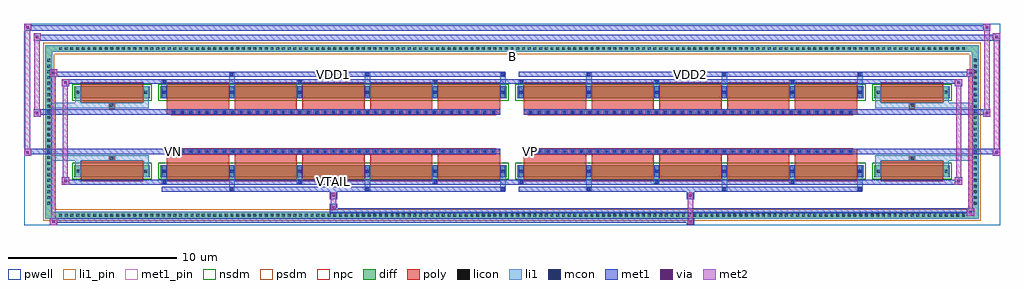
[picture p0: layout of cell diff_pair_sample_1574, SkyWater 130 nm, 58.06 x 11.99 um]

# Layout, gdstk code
import gdstk
lib = gdstk.Library(unit=1e-6, precision=5e-09)
def R(c, l, rs):  # rectangles x0, y0, x1, y1
    for r in rs: c.add(gdstk.rectangle(r[:2], r[2:], *l))
def A(c, l, x, y, w, h, nx, ny, dx, dy):  # array of equal rectangles
    R(c, l, [(x+i*dx, y+j*dy, x+i*dx+w, y+j*dy+h) for i in range(nx) for j in range(ny)])
def P(c, l, *ps):  # polygons
    for p in ps: c.add(gdstk.Polygon(p, *l))
pwell = (64, 44)
diff = (65, 20)
poly = (66, 20)
licon = (66, 44)
li1_pin = (67, 16)
li1 = (67, 20)
mcon = (67, 44)
met1_pin = (68, 16)
met1 = (68, 20)
via = (68, 44)
met2 = (69, 20)
nsdm = (93, 44)
psdm = (94, 20)
npc = (95, 20)

diff_pair_sample_1574 = lib.new_cell('diff_pair_sample_1574')
R(diff_pair_sample_1574, pwell, [(-29.03,-5.56,29.03,6.43), (-26.35,-3.75,-0.01,-0.805), (0.01,-3.75,26.35,-0.805), (-26.35,0.805,-0.01,3.75), (0.01,0.805,26.35,3.75)])
A(diff_pair_sample_1574, diff, -27.065, -5.16, 0.41, 0.41, 159, 2, 0.34, 9.91)
A(diff_pair_sample_1574, diff, -27.76, -4.455, 0.41, 0.41, 1, 26, 0, 0.34)
A(diff_pair_sample_1574, diff, 27.35, -4.455, 0.41, 0.41, 1, 26, 0, 0.34)
R(diff_pair_sample_1574, diff, [(-27.065,-5.16,27.065,-4.75), (-27.76,-4.455,-27.35,4.455), (27.35,-4.455,27.76,4.455), (-26.04,-2.705,-21.56,-1.985), (-20.92,-2.705,-0.32,-1.985), (0.32,-2.705,20.92,-1.985), (21.56,-2.705,26.04,-1.985), (-26.04,1.985,-21.56,2.705), (-20.92,1.985,-0.32,2.705), (0.32,1.985,20.92,2.705), (21.56,1.985,26.04,2.705), (-27.065,4.75,27.065,5.16)])
P(diff_pair_sample_1574, diff, [(27.76,5.16),(-27.76,5.16),(-27.76,-4.75),(-27.35,-4.75),(-27.35,4.75),(27.35,4.75),(27.35,-4.75),(-27.35,-4.75),(-27.76,-4.75),(-27.76,-5.16),(27.76,-5.16)])
A(diff_pair_sample_1574, poly, -20.53, -2.955, 3.7, 1.22, 5, 2, 4.03, 4.69)
A(diff_pair_sample_1574, poly, 0.71, -2.955, 3.7, 1.22, 5, 2, 4.03, 4.69)
A(diff_pair_sample_1574, poly, -20.53, -1.735, 3.7, 0.4, 5, 2, 4.03, 3.07)
A(diff_pair_sample_1574, poly, 0.71, -1.735, 3.7, 0.4, 5, 2, 4.03, 3.07)
A(diff_pair_sample_1574, poly, -20.285, -1.335, 0.33, 0.33, 39, 2, 0.5, 2.34)
A(diff_pair_sample_1574, poly, 0.955, -1.335, 0.33, 0.33, 39, 2, 0.5, 2.34)
R(diff_pair_sample_1574, poly, [(-25.65,-2.955,-21.95,-1.735), (21.95,-2.955,25.65,-1.735), (-23.965,-1.735,-23.635,-1.405), (-23.965,-1.735,-23.635,-1.405), (23.635,-1.735,23.965,-1.405), (23.635,-1.735,23.965,-1.405), (-20.53,-1.335,-0.71,-1.005), (0.71,-1.335,20.53,-1.005), (-20.53,1.005,-0.71,1.335), (0.71,1.005,20.53,1.335), (-23.965,1.405,-23.635,1.735), (-23.965,1.405,-23.635,1.735), (23.635,1.405,23.965,1.735), (23.635,1.405,23.965,1.735), (-25.65,1.735,-21.95,2.955), (21.95,1.735,25.65,2.955)])
A(diff_pair_sample_1574, licon, -26.945, -5.04, 0.17, 0.17, 159, 2, 0.34, 9.91)
A(diff_pair_sample_1574, licon, -27.64, -4.335, 0.17, 0.17, 1, 26, 0, 0.34)
A(diff_pair_sample_1574, licon, 27.47, -4.335, 0.17, 0.17, 1, 26, 0, 0.34)
A(diff_pair_sample_1574, licon, -20.78, -2.43, 0.17, 0.17, 6, 2, 4.03, 4.69)
A(diff_pair_sample_1574, licon, 0.46, -2.43, 0.17, 0.17, 6, 2, 4.03, 4.69)
A(diff_pair_sample_1574, licon, -20.205, -1.255, 0.17, 0.17, 39, 2, 0.5, 2.34)
A(diff_pair_sample_1574, licon, 1.035, -1.255, 0.17, 0.17, 39, 2, 0.5, 2.34)
R(diff_pair_sample_1574, licon, [(-25.9,-2.43,-25.73,-2.26), (-21.87,-2.43,-21.7,-2.26), (21.7,-2.43,21.87,-2.26), (25.73,-2.43,25.9,-2.26), (-23.885,-1.655,-23.715,-1.485), (23.715,-1.655,23.885,-1.485), (-23.885,1.485,-23.715,1.655), (23.715,1.485,23.885,1.655), (-25.9,2.26,-25.73,2.43), (-21.87,2.26,-21.7,2.43), (21.7,2.26,21.87,2.43), (25.73,2.26,25.9,2.43)])
R(diff_pair_sample_1574, li1_pin, [(-0.25,4.25,0.25,4.75)])
A(diff_pair_sample_1574, li1, -27.025, -5.12, 0.33, 0.33, 159, 2, 0.34, 9.91)
A(diff_pair_sample_1574, li1, -27.72, -4.415, 0.33, 0.33, 1, 26, 0, 0.34)
A(diff_pair_sample_1574, li1, 27.39, -4.415, 0.33, 0.33, 1, 26, 0, 0.34)
A(diff_pair_sample_1574, li1, -16.83, -3.51, 0.33, 0.805, 3, 2, 8.06, 6.215)
A(diff_pair_sample_1574, li1, -16.75, -3.51, 0.17, 0.17, 3, 2, 8.06, 6.85)
A(diff_pair_sample_1574, li1, 4.41, -3.51, 0.33, 0.805, 3, 2, 8.06, 6.215)
A(diff_pair_sample_1574, li1, 4.49, -3.51, 0.17, 0.17, 3, 2, 8.06, 6.85)
A(diff_pair_sample_1574, li1, -20.86, -3.08, 0.33, 0.375, 3, 2, 8.06, 5.785)
A(diff_pair_sample_1574, li1, -20.78, -3.08, 0.17, 0.17, 3, 2, 8.06, 5.99)
A(diff_pair_sample_1574, li1, 0.38, -3.08, 0.33, 0.375, 3, 2, 8.06, 5.785)
A(diff_pair_sample_1574, li1, 0.46, -3.08, 0.17, 0.17, 3, 2, 8.06, 5.99)
A(diff_pair_sample_1574, li1, -20.86, -2.705, 0.33, 0.72, 6, 2, 4.03, 4.69)
A(diff_pair_sample_1574, li1, 0.38, -2.705, 0.33, 0.72, 6, 2, 4.03, 4.69)
A(diff_pair_sample_1574, li1, -20.86, -2.51, 0.33, 0.33, 6, 2, 4.03, 4.69)
A(diff_pair_sample_1574, li1, 0.38, -2.51, 0.33, 0.33, 6, 2, 4.03, 4.69)
A(diff_pair_sample_1574, li1, -20.285, -1.335, 0.33, 0.33, 39, 2, 0.5, 2.34)
A(diff_pair_sample_1574, li1, 0.955, -1.335, 0.33, 0.33, 39, 2, 0.5, 2.34)
R(diff_pair_sample_1574, li1, [(-27.76,-5.16,-27.35,-4.75), (-27.76,-5.16,-27.35,-4.75), (-27.35,-5.16,27.35,-4.75), (27.35,-5.16,27.76,-4.75), (27.35,-5.16,27.76,-4.75), (-27.76,-4.75,-27.35,4.75), (27.35,-4.75,27.76,4.75), (-25.98,-2.705,-25.65,-1.985), (-21.95,-2.705,-21.62,-1.985), (21.62,-2.705,21.95,-1.985), (25.65,-2.705,25.98,-1.985), (-25.98,-2.51,-25.65,-2.18), (-21.95,-2.51,-21.62,-2.18), (21.62,-2.51,21.95,-2.18), (25.65,-2.51,25.98,-2.18), (-20.78,-2.43,-20.61,-2.26), (-20.78,-2.43,-20.61,-2.26), (-16.75,-2.43,-16.58,-2.26), (-16.75,-2.43,-16.58,-2.26), (-12.72,-2.43,-12.55,-2.26), (-12.72,-2.43,-12.55,-2.26), (-8.69,-2.43,-8.52,-2.26), (-8.69,-2.43,-8.52,-2.26), (-4.66,-2.43,-4.49,-2.26), (-4.66,-2.43,-4.49,-2.26), (-0.63,-2.43,-0.46,-2.26), (-0.63,-2.43,-0.46,-2.26), (0.46,-2.43,0.63,-2.26), (0.46,-2.43,0.63,-2.26), (4.49,-2.43,4.66,-2.26), (4.49,-2.43,4.66,-2.26), (8.52,-2.43,8.69,-2.26), (8.52,-2.43,8.69,-2.26), (12.55,-2.43,12.72,-2.26), (12.55,-2.43,12.72,-2.26), (16.58,-2.43,16.75,-2.26), (16.58,-2.43,16.75,-2.26), (20.61,-2.43,20.78,-2.26), (20.61,-2.43,20.78,-2.26), (-25.98,-1.985,-25.65,-1.405), (-21.95,-1.985,-21.62,-1.405), (21.62,-1.985,21.95,-1.405), (25.65,-1.985,25.98,-1.405), (-27.76,-1.735,-23.965,-1.405), (-25.98,-1.735,-23.965,-1.405), (-23.965,-1.735,-23.635,-1.405), (-23.635,-1.735,-21.62,-1.405), (21.62,-1.735,23.635,-1.405), (23.635,-1.735,23.965,-1.405), (23.635,-1.735,27.76,-1.405), (23.965,-1.735,25.98,-1.405), (-27.76,1.405,-23.965,1.735), (-25.98,1.405,-23.965,1.735), (-25.98,1.405,-25.65,1.985), (-23.965,1.405,-23.635,1.735), (-23.635,1.405,-21.62,1.735), (-21.95,1.405,-21.62,1.985), (21.62,1.405,23.635,1.735), (21.62,1.405,21.95,1.985), (23.635,1.405,23.965,1.735), (23.635,1.405,27.76,1.735), (23.965,1.405,25.98,1.735), (25.65,1.405,25.98,1.985), (-25.98,1.985,-25.65,2.705), (-21.95,1.985,-21.62,2.705), (21.62,1.985,21.95,2.705), (25.65,1.985,25.98,2.705), (-25.98,2.18,-25.65,2.51), (-21.95,2.18,-21.62,2.51), (21.62,2.18,21.95,2.51), (25.65,2.18,25.98,2.51), (-20.78,2.26,-20.61,2.43), (-20.78,2.26,-20.61,2.43), (-16.75,2.26,-16.58,2.43), (-16.75,2.26,-16.58,2.43), (-12.72,2.26,-12.55,2.43), (-12.72,2.26,-12.55,2.43), (-8.69,2.26,-8.52,2.43), (-8.69,2.26,-8.52,2.43), (-4.66,2.26,-4.49,2.43), (-4.66,2.26,-4.49,2.43), (-0.63,2.26,-0.46,2.43), (-0.63,2.26,-0.46,2.43), (0.46,2.26,0.63,2.43), (0.46,2.26,0.63,2.43), (4.49,2.26,4.66,2.43), (4.49,2.26,4.66,2.43), (8.52,2.26,8.69,2.43), (8.52,2.26,8.69,2.43), (12.55,2.26,12.72,2.43), (12.55,2.26,12.72,2.43), (16.58,2.26,16.75,2.43), (16.58,2.26,16.75,2.43), (20.61,2.26,20.78,2.43), (20.61,2.26,20.78,2.43), (-27.76,4.75,-27.35,5.16), (-27.76,4.75,-27.35,5.16), (-27.35,4.75,27.35,5.16), (27.35,4.75,27.76,5.16), (27.35,4.75,27.76,5.16)])
A(diff_pair_sample_1574, mcon, -16.75, -3.51, 0.17, 0.17, 3, 2, 8.06, 6.85)
A(diff_pair_sample_1574, mcon, 4.49, -3.51, 0.17, 0.17, 3, 2, 8.06, 6.85)
A(diff_pair_sample_1574, mcon, -20.78, -3.08, 0.17, 0.17, 3, 2, 8.06, 5.99)
A(diff_pair_sample_1574, mcon, 0.46, -3.08, 0.17, 0.17, 3, 2, 8.06, 5.99)
A(diff_pair_sample_1574, mcon, -20.78, -2.43, 0.17, 0.17, 6, 2, 4.03, 4.69)
A(diff_pair_sample_1574, mcon, 0.46, -2.43, 0.17, 0.17, 6, 2, 4.03, 4.69)
A(diff_pair_sample_1574, mcon, -20.205, -1.255, 0.17, 0.17, 39, 2, 0.5, 2.34)
A(diff_pair_sample_1574, mcon, 1.035, -1.255, 0.17, 0.17, 39, 2, 0.5, 2.34)
R(diff_pair_sample_1574, met1_pin, [(-10.755,-3.12,-10.485,-2.85), (-20.255,-1.295,-19.985,-1.025), (0.985,-1.295,1.255,-1.025), (-10.755,3.3,-10.485,3.57), (10.485,3.3,10.755,3.57)])
A(diff_pair_sample_1574, met1, -16.81, -3.57, 0.29, 0.29, 3, 2, 8.06, 6.85)
A(diff_pair_sample_1574, met1, 4.43, -3.57, 0.29, 0.29, 3, 2, 8.06, 6.85)
A(diff_pair_sample_1574, met1, -20.84, -3.14, 0.29, 0.29, 3, 2, 8.06, 5.99)
A(diff_pair_sample_1574, met1, 0.4, -3.14, 0.29, 0.29, 3, 2, 8.06, 5.99)
A(diff_pair_sample_1574, met1, -20.84, -2.705, 0.29, 0.72, 6, 2, 4.03, 4.69)
A(diff_pair_sample_1574, met1, 0.4, -2.705, 0.29, 0.72, 6, 2, 4.03, 4.69)
A(diff_pair_sample_1574, met1, -20.84, -2.49, 0.29, 0.29, 6, 2, 4.03, 4.69)
A(diff_pair_sample_1574, met1, 0.4, -2.49, 0.29, 0.29, 6, 2, 4.03, 4.69)
A(diff_pair_sample_1574, met1, -20.265, -1.315, 0.29, 0.29, 39, 2, 0.5, 2.34)
A(diff_pair_sample_1574, met1, 0.975, -1.315, 0.29, 0.29, 39, 2, 0.5, 2.34)
R(diff_pair_sample_1574, met1, [(-27.49,-5.56,-27.06,-5.13), (10.405,-5.56,10.835,-5.13), (-27.49,-5.42,10.835,-5.13), (27.06,-4.99,27.49,-4.56), (-10.835,-4.85,27.49,-4.56), (-10.835,-4.71,-10.405,-4.28), (-10.835,-4,-10.405,-3.57), (10.405,-4,10.835,-3.57), (-20.84,-3.57,-0.4,-3.28), (0.4,-3.57,20.84,-3.28), (-26.78,-3.14,-26.35,-2.71), (-26.78,-3.14,-20.84,-2.85), (-20.84,-3.14,-0.4,-2.85), (-0.4,-3.14,0.4,-2.85), (0.4,-3.14,20.84,-2.85), (20.84,-3.14,26.78,-2.85), (26.35,-3.14,26.78,-2.71), (-29.03,-1.435,-28.6,-1.005), (28.6,-1.435,29.03,-1.005), (-29.03,-1.335,-0.71,-1.005), (-20.53,-1.335,-0.71,-1.005), (0.71,-1.335,20.53,-1.005), (0.71,-1.335,29.03,-1.005), (-28.46,0.905,-28.03,1.335), (28.03,0.905,28.46,1.335), (-28.46,1.005,-20.53,1.335), (-20.53,1.005,-0.71,1.335), (0.71,1.005,20.53,1.335), (20.53,1.005,28.46,1.335), (-26.78,2.71,-26.35,3.14), (26.35,2.71,26.78,3.14), (-26.78,2.85,-20.84,3.14), (-20.84,2.85,-0.4,3.14), (-0.4,2.85,0.4,3.14), (0.4,2.85,20.84,3.14), (20.84,2.85,26.78,3.14), (-27.49,3.28,-27.06,3.71), (-27.49,3.28,-20.84,3.57), (-20.84,3.28,-0.4,3.57), (0.4,3.28,20.84,3.57), (20.84,3.28,27.49,3.57), (27.06,3.28,27.49,3.71), (-28.46,5.43,-28.03,5.86), (-28.46,5.43,-26.35,5.76), (-26.35,5.43,26.35,5.76), (26.35,5.43,29.03,5.76), (28.6,5.43,29.03,5.86), (-29.03,6,-28.6,6.43), (-29.03,6,-26.35,6.33), (-26.35,6,26.35,6.33), (26.35,6,28.46,6.33), (28.03,6,28.46,6.43)])
R(diff_pair_sample_1574, via, [(-27.35,-5.42,-27.2,-5.27), (10.545,-5.42,10.695,-5.27), (27.2,-4.85,27.35,-4.7), (-10.695,-4.57,-10.545,-4.42), (-10.695,-3.86,-10.545,-3.71), (10.545,-3.86,10.695,-3.71), (-26.64,-3,-26.49,-2.85), (26.49,-3,26.64,-2.85), (-28.89,-1.295,-28.74,-1.145), (28.74,-1.295,28.89,-1.145), (-28.32,1.045,-28.17,1.195), (28.17,1.045,28.32,1.195), (-26.64,2.85,-26.49,3), (26.49,2.85,26.64,3), (-27.35,3.42,-27.2,3.57), (27.2,3.42,27.35,3.57), (-28.32,5.57,-28.17,5.72), (28.74,5.57,28.89,5.72), (-28.89,6.14,-28.74,6.29), (28.17,6.14,28.32,6.29)])
R(diff_pair_sample_1574, met2, [(-27.49,-5.56,-27.06,-5.13), (-27.42,-5.56,-27.13,3.71), (-27.13,-5.56,-27.06,-5.13), (-27.44,-5.51,-27.11,-5.18), (10.455,-5.51,10.785,-5.18), (10.455,-5.18,10.785,-3.95), (27.06,-4.99,27.49,-4.56), (27.13,-4.99,27.42,3.71), (27.42,-4.99,27.49,-4.56), (27.11,-4.94,27.44,-4.61), (-10.785,-4.66,-10.455,-4.33), (-10.785,-4.33,-10.455,-3.95), (-10.785,-3.95,-10.455,-3.62), (10.455,-3.95,10.785,-3.62), (-26.78,-3.14,-26.35,-2.71), (-26.71,-3.14,-26.42,3.14), (-26.42,-3.14,-26.35,-2.71), (26.35,-3.14,26.78,-2.71), (26.42,-3.14,26.71,3.14), (26.71,-3.14,26.78,-2.71), (-26.73,-3.09,-26.4,-2.76), (26.4,-3.09,26.73,-2.76), (-29.03,-1.435,-28.6,-1.005), (-28.98,-1.435,-28.65,6.43), (-28.65,-1.435,-28.6,-1.005), (28.6,-1.435,29.03,-1.005), (28.65,-1.435,28.98,5.86), (28.98,-1.435,29.03,-1.005), (-28.98,-1.385,-28.65,-1.055), (28.65,-1.385,28.98,-1.055), (-28.46,0.905,-28.03,1.335), (-28.41,0.905,-28.08,5.86), (-28.08,0.905,-28.03,1.335), (28.03,0.905,28.46,1.335), (28.08,0.905,28.41,6.43), (28.41,0.905,28.46,1.335), (-28.41,0.955,-28.08,1.285), (28.08,0.955,28.41,1.285), (-26.78,2.71,-26.35,3.14), (-26.42,2.71,-26.35,3.14), (26.35,2.71,26.78,3.14), (26.71,2.71,26.78,3.14), (-26.73,2.76,-26.4,3.09), (26.4,2.76,26.73,3.09), (-27.49,3.28,-27.06,3.71), (-27.13,3.28,-27.06,3.71), (27.06,3.28,27.49,3.71), (27.42,3.28,27.49,3.71), (-27.44,3.33,-27.11,3.66), (27.11,3.33,27.44,3.66), (-28.46,5.43,-28.03,5.86), (-28.08,5.43,-28.03,5.86), (28.6,5.43,29.03,5.86), (28.98,5.43,29.03,5.86), (-28.41,5.48,-28.08,5.81), (28.65,5.48,28.98,5.81), (-29.03,6,-28.6,6.43), (-28.65,6,-28.6,6.43), (28.03,6,28.46,6.43), (28.41,6,28.46,6.43), (-28.98,6.05,-28.65,6.38), (28.08,6.05,28.41,6.38)])
R(diff_pair_sample_1574, nsdm, [(-26.17,-2.835,-21.43,-1.855), (-21.05,-2.835,-0.19,-1.855), (0.19,-2.835,21.05,-1.855), (21.43,-2.835,26.17,-1.855), (-26.17,1.855,-21.43,2.835), (-21.05,1.855,-0.19,2.835), (0.19,1.855,21.05,2.835), (21.43,1.855,26.17,2.835)])
P(diff_pair_sample_1574, psdm, [(27.89,5.29),(-27.89,5.29),(-27.89,-4.62),(-27.22,-4.62),(-27.22,4.62),(27.22,4.62),(27.22,-4.62),(-27.22,-4.62),(-27.89,-4.62),(-27.89,-5.29),(27.89,-5.29)])
A(diff_pair_sample_1574, npc, -20.305, -1.355, 0.37, 0.37, 39, 2, 0.5, 2.34)
A(diff_pair_sample_1574, npc, 0.935, -1.355, 0.37, 0.37, 39, 2, 0.5, 2.34)
R(diff_pair_sample_1574, npc, [(-23.985,-1.755,-23.615,-1.385), (23.615,-1.755,23.985,-1.385), (-20.305,-1.355,-19.435,-0.985), (-20.305,-1.355,-19.435,-0.985), (-19.805,-1.355,-18.935,-0.985), (-19.805,-1.355,-18.935,-0.985), (-19.305,-1.355,-18.435,-0.985), (-19.305,-1.355,-18.435,-0.985), (-18.805,-1.355,-17.935,-0.985), (-18.805,-1.355,-17.935,-0.985), (-18.305,-1.355,-17.435,-0.985), (-18.305,-1.355,-17.435,-0.985), (-17.805,-1.355,-16.935,-0.985), (-17.805,-1.355,-16.935,-0.985), (-17.305,-1.355,-16.435,-0.985), (-17.305,-1.355,-16.435,-0.985), (-16.805,-1.355,-15.935,-0.985), (-16.805,-1.355,-15.935,-0.985), (-16.305,-1.355,-15.435,-0.985), (-16.305,-1.355,-15.435,-0.985), (-15.805,-1.355,-14.935,-0.985), (-15.805,-1.355,-14.935,-0.985), (-15.305,-1.355,-14.435,-0.985), (-15.305,-1.355,-14.435,-0.985), (-14.805,-1.355,-13.935,-0.985), (-14.805,-1.355,-13.935,-0.985), (-14.305,-1.355,-13.435,-0.985), (-14.305,-1.355,-13.435,-0.985), (-13.805,-1.355,-12.935,-0.985), (-13.805,-1.355,-12.935,-0.985), (-13.305,-1.355,-12.435,-0.985), (-13.305,-1.355,-12.435,-0.985), (-12.805,-1.355,-11.935,-0.985), (-12.805,-1.355,-11.935,-0.985), (-12.305,-1.355,-11.435,-0.985), (-12.305,-1.355,-11.435,-0.985), (-11.805,-1.355,-10.935,-0.985), (-11.805,-1.355,-10.935,-0.985), (-11.305,-1.355,-10.435,-0.985), (-11.305,-1.355,-10.435,-0.985), (-10.805,-1.355,-9.935,-0.985), (-10.805,-1.355,-9.935,-0.985), (-10.305,-1.355,-9.435,-0.985), (-10.305,-1.355,-9.435,-0.985), (-9.805,-1.355,-8.935,-0.985), (-9.805,-1.355,-8.935,-0.985), (-9.305,-1.355,-8.435,-0.985), (-9.305,-1.355,-8.435,-0.985), (-8.805,-1.355,-7.935,-0.985), (-8.805,-1.355,-7.935,-0.985), (-8.305,-1.355,-7.435,-0.985), (-8.305,-1.355,-7.435,-0.985), (-7.805,-1.355,-6.935,-0.985), (-7.805,-1.355,-6.935,-0.985), (-7.305,-1.355,-6.435,-0.985), (-7.305,-1.355,-6.435,-0.985), (-6.805,-1.355,-5.935,-0.985), (-6.805,-1.355,-5.935,-0.985), (-6.305,-1.355,-5.435,-0.985), (-6.305,-1.355,-5.435,-0.985), (-5.805,-1.355,-4.935,-0.985), (-5.805,-1.355,-4.935,-0.985), (-5.305,-1.355,-4.435,-0.985), (-5.305,-1.355,-4.435,-0.985), (-4.805,-1.355,-3.935,-0.985), (-4.805,-1.355,-3.935,-0.985), (-4.305,-1.355,-3.435,-0.985), (-4.305,-1.355,-3.435,-0.985), (-3.805,-1.355,-2.935,-0.985), (-3.805,-1.355,-2.935,-0.985), (-3.305,-1.355,-2.435,-0.985), (-3.305,-1.355,-2.435,-0.985), (-2.805,-1.355,-1.935,-0.985), (-2.805,-1.355,-1.935,-0.985), (-2.305,-1.355,-1.435,-0.985), (-2.305,-1.355,-1.435,-0.985), (-1.805,-1.355,-0.935,-0.985), (-1.805,-1.355,-0.935,-0.985), (0.935,-1.355,1.805,-0.985), (0.935,-1.355,1.805,-0.985), (1.435,-1.355,2.305,-0.985), (1.435,-1.355,2.305,-0.985), (1.935,-1.355,2.805,-0.985), (1.935,-1.355,2.805,-0.985), (2.435,-1.355,3.305,-0.985), (2.435,-1.355,3.305,-0.985), (2.935,-1.355,3.805,-0.985), (2.935,-1.355,3.805,-0.985), (3.435,-1.355,4.305,-0.985), (3.435,-1.355,4.305,-0.985), (3.935,-1.355,4.805,-0.985), (3.935,-1.355,4.805,-0.985), (4.435,-1.355,5.305,-0.985), (4.435,-1.355,5.305,-0.985), (4.935,-1.355,5.805,-0.985), (4.935,-1.355,5.805,-0.985), (5.435,-1.355,6.305,-0.985), (5.435,-1.355,6.305,-0.985), (5.935,-1.355,6.805,-0.985), (5.935,-1.355,6.805,-0.985), (6.435,-1.355,7.305,-0.985), (6.435,-1.355,7.305,-0.985), (6.935,-1.355,7.805,-0.985), (6.935,-1.355,7.805,-0.985), (7.435,-1.355,8.305,-0.985), (7.435,-1.355,8.305,-0.985), (7.935,-1.355,8.805,-0.985), (7.935,-1.355,8.805,-0.985), (8.435,-1.355,9.305,-0.985), (8.435,-1.355,9.305,-0.985), (8.935,-1.355,9.805,-0.985), (8.935,-1.355,9.805,-0.985), (9.435,-1.355,10.305,-0.985), (9.435,-1.355,10.305,-0.985), (9.935,-1.355,10.805,-0.985), (9.935,-1.355,10.805,-0.985), (10.435,-1.355,11.305,-0.985), (10.435,-1.355,11.305,-0.985), (10.935,-1.355,11.805,-0.985), (10.935,-1.355,11.805,-0.985), (11.435,-1.355,12.305,-0.985), (11.435,-1.355,12.305,-0.985), (11.935,-1.355,12.805,-0.985), (11.935,-1.355,12.805,-0.985), (12.435,-1.355,13.305,-0.985), (12.435,-1.355,13.305,-0.985), (12.935,-1.355,13.805,-0.985), (12.935,-1.355,13.805,-0.985), (13.435,-1.355,14.305,-0.985), (13.435,-1.355,14.305,-0.985), (13.935,-1.355,14.805,-0.985), (13.935,-1.355,14.805,-0.985), (14.435,-1.355,15.305,-0.985), (14.435,-1.355,15.305,-0.985), (14.935,-1.355,15.805,-0.985), (14.935,-1.355,15.805,-0.985), (15.435,-1.355,16.305,-0.985), (15.435,-1.355,16.305,-0.985), (15.935,-1.355,16.805,-0.985), (15.935,-1.355,16.805,-0.985), (16.435,-1.355,17.305,-0.985), (16.435,-1.355,17.305,-0.985), (16.935,-1.355,17.805,-0.985), (16.935,-1.355,17.805,-0.985), (17.435,-1.355,18.305,-0.985), (17.435,-1.355,18.305,-0.985), (17.935,-1.355,18.805,-0.985), (17.935,-1.355,18.805,-0.985), (18.435,-1.355,19.305,-0.985), (18.435,-1.355,19.305,-0.985), (18.935,-1.355,19.805,-0.985), (18.935,-1.355,19.805,-0.985), (19.435,-1.355,20.305,-0.985), (19.435,-1.355,20.305,-0.985), (-20.305,0.985,-19.435,1.355), (-20.305,0.985,-19.435,1.355), (-19.805,0.985,-18.935,1.355), (-19.805,0.985,-18.935,1.355), (-19.305,0.985,-18.435,1.355), (-19.305,0.985,-18.435,1.355), (-18.805,0.985,-17.935,1.355), (-18.805,0.985,-17.935,1.355), (-18.305,0.985,-17.435,1.355), (-18.305,0.985,-17.435,1.355), (-17.805,0.985,-16.935,1.355), (-17.805,0.985,-16.935,1.355), (-17.305,0.985,-16.435,1.355), (-17.305,0.985,-16.435,1.355), (-16.805,0.985,-15.935,1.355), (-16.805,0.985,-15.935,1.355), (-16.305,0.985,-15.435,1.355), (-16.305,0.985,-15.435,1.355), (-15.805,0.985,-14.935,1.355), (-15.805,0.985,-14.935,1.355), (-15.305,0.985,-14.435,1.355), (-15.305,0.985,-14.435,1.355), (-14.805,0.985,-13.935,1.355), (-14.805,0.985,-13.935,1.355), (-14.305,0.985,-13.435,1.355), (-14.305,0.985,-13.435,1.355), (-13.805,0.985,-12.935,1.355), (-13.805,0.985,-12.935,1.355), (-13.305,0.985,-12.435,1.355), (-13.305,0.985,-12.435,1.355), (-12.805,0.985,-11.935,1.355), (-12.805,0.985,-11.935,1.355), (-12.305,0.985,-11.435,1.355), (-12.305,0.985,-11.435,1.355), (-11.805,0.985,-10.935,1.355), (-11.805,0.985,-10.935,1.355), (-11.305,0.985,-10.435,1.355), (-11.305,0.985,-10.435,1.355), (-10.805,0.985,-9.935,1.355), (-10.805,0.985,-9.935,1.355), (-10.305,0.985,-9.435,1.355), (-10.305,0.985,-9.435,1.355), (-9.805,0.985,-8.935,1.355), (-9.805,0.985,-8.935,1.355), (-9.305,0.985,-8.435,1.355), (-9.305,0.985,-8.435,1.355), (-8.805,0.985,-7.935,1.355), (-8.805,0.985,-7.935,1.355), (-8.305,0.985,-7.435,1.355), (-8.305,0.985,-7.435,1.355), (-7.805,0.985,-6.935,1.355), (-7.805,0.985,-6.935,1.355), (-7.305,0.985,-6.435,1.355), (-7.305,0.985,-6.435,1.355), (-6.805,0.985,-5.935,1.355), (-6.805,0.985,-5.935,1.355), (-6.305,0.985,-5.435,1.355), (-6.305,0.985,-5.435,1.355), (-5.805,0.985,-4.935,1.355), (-5.805,0.985,-4.935,1.355), (-5.305,0.985,-4.435,1.355), (-5.305,0.985,-4.435,1.355), (-4.805,0.985,-3.935,1.355), (-4.805,0.985,-3.935,1.355), (-4.305,0.985,-3.435,1.355), (-4.305,0.985,-3.435,1.355), (-3.805,0.985,-2.935,1.355), (-3.805,0.985,-2.935,1.355), (-3.305,0.985,-2.435,1.355), (-3.305,0.985,-2.435,1.355), (-2.805,0.985,-1.935,1.355), (-2.805,0.985,-1.935,1.355), (-2.305,0.985,-1.435,1.355), (-2.305,0.985,-1.435,1.355), (-1.805,0.985,-0.935,1.355), (-1.805,0.985,-0.935,1.355), (0.935,0.985,1.805,1.355), (0.935,0.985,1.805,1.355), (1.435,0.985,2.305,1.355), (1.435,0.985,2.305,1.355), (1.935,0.985,2.805,1.355), (1.935,0.985,2.805,1.355), (2.435,0.985,3.305,1.355), (2.435,0.985,3.305,1.355), (2.935,0.985,3.805,1.355), (2.935,0.985,3.805,1.355), (3.435,0.985,4.305,1.355), (3.435,0.985,4.305,1.355), (3.935,0.985,4.805,1.355), (3.935,0.985,4.805,1.355), (4.435,0.985,5.305,1.355), (4.435,0.985,5.305,1.355), (4.935,0.985,5.805,1.355), (4.935,0.985,5.805,1.355), (5.435,0.985,6.305,1.355), (5.435,0.985,6.305,1.355), (5.935,0.985,6.805,1.355), (5.935,0.985,6.805,1.355), (6.435,0.985,7.305,1.355), (6.435,0.985,7.305,1.355), (6.935,0.985,7.805,1.355), (6.935,0.985,7.805,1.355), (7.435,0.985,8.305,1.355), (7.435,0.985,8.305,1.355), (7.935,0.985,8.805,1.355), (7.935,0.985,8.805,1.355), (8.435,0.985,9.305,1.355), (8.435,0.985,9.305,1.355), (8.935,0.985,9.805,1.355), (8.935,0.985,9.805,1.355), (9.435,0.985,10.305,1.355), (9.435,0.985,10.305,1.355), (9.935,0.985,10.805,1.355), (9.935,0.985,10.805,1.355), (10.435,0.985,11.305,1.355), (10.435,0.985,11.305,1.355), (10.935,0.985,11.805,1.355), (10.935,0.985,11.805,1.355), (11.435,0.985,12.305,1.355), (11.435,0.985,12.305,1.355), (11.935,0.985,12.805,1.355), (11.935,0.985,12.805,1.355), (12.435,0.985,13.305,1.355), (12.435,0.985,13.305,1.355), (12.935,0.985,13.805,1.355), (12.935,0.985,13.805,1.355), (13.435,0.985,14.305,1.355), (13.435,0.985,14.305,1.355), (13.935,0.985,14.805,1.355), (13.935,0.985,14.805,1.355), (14.435,0.985,15.305,1.355), (14.435,0.985,15.305,1.355), (14.935,0.985,15.805,1.355), (14.935,0.985,15.805,1.355), (15.435,0.985,16.305,1.355), (15.435,0.985,16.305,1.355), (15.935,0.985,16.805,1.355), (15.935,0.985,16.805,1.355), (16.435,0.985,17.305,1.355), (16.435,0.985,17.305,1.355), (16.935,0.985,17.805,1.355), (16.935,0.985,17.805,1.355), (17.435,0.985,18.305,1.355), (17.435,0.985,18.305,1.355), (17.935,0.985,18.805,1.355), (17.935,0.985,18.805,1.355), (18.435,0.985,19.305,1.355), (18.435,0.985,19.305,1.355), (18.935,0.985,19.805,1.355), (18.935,0.985,19.805,1.355), (19.435,0.985,20.305,1.355), (19.435,0.985,20.305,1.355), (-23.985,1.385,-23.615,1.755), (23.615,1.385,23.985,1.755)])
diff_pair_sample_1574.add(gdstk.Label('VTAIL', (-10.62,-2.985), layer=68, texttype=5))
diff_pair_sample_1574.add(gdstk.Label('VN', (-20.12,-1.16), layer=68, texttype=5))
diff_pair_sample_1574.add(gdstk.Label('VP', (1.12,-1.16), layer=68, texttype=5))
diff_pair_sample_1574.add(gdstk.Label('B', (0,4.5), layer=67, texttype=5))
diff_pair_sample_1574.add(gdstk.Label('VDD2', (10.62,3.435), layer=68, texttype=5))
diff_pair_sample_1574.add(gdstk.Label('VDD1', (-10.62,3.435), layer=68, texttype=5))

lib.write_gds('diff_pair_sample_1574.gds')
